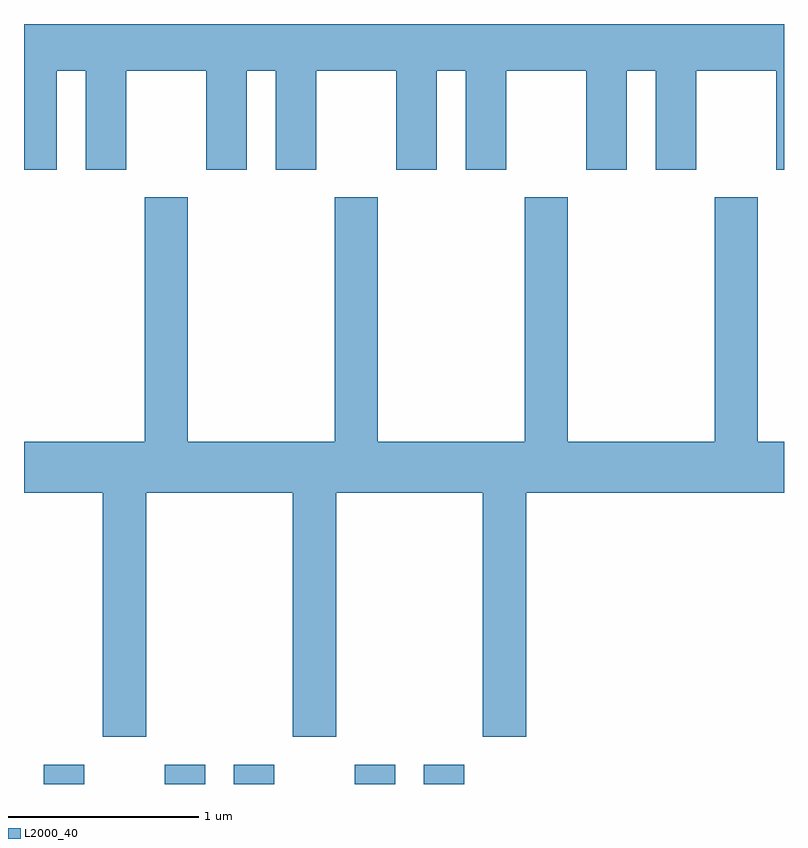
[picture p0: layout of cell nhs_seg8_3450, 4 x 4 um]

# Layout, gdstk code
import gdstk
lib = gdstk.Library(unit=1e-6, precision=1e-09)
def R(c, l, rs):  # rectangles x0, y0, x1, y1
    for r in rs: c.add(gdstk.rectangle(r[:2], r[2:], *l))
def P(c, l, *ps):  # polygons
    for p in ps: c.add(gdstk.Polygon(p, *l))
L2000_40 = (2000, 40)

nhs_seg8_3450 = lib.new_cell('nhs_seg8_3450')
R(nhs_seg8_3450, L2000_40, [(287.716,1930.342,287.929,1930.444), (288.351,1930.342,288.564,1930.444), (288.716,1930.342,288.929,1930.444), (289.351,1930.342,289.564,1930.444), (289.716,1930.342,289.929,1930.444)])
P(nhs_seg8_3450, L2000_40, [(287.784,1934.096),(287.936,1934.096),(287.936,1933.576),(288.149,1933.576),(288.149,1934.096),(288.571,1934.096),(288.571,1933.576),(288.784,1933.576),(288.784,1934.096),(288.936,1934.096),(288.936,1933.576),(289.149,1933.576),(289.149,1934.096),(289.571,1934.096),(289.571,1933.576),(289.784,1933.576),(289.784,1934.096),(289.936,1934.096),(289.936,1933.576),(290.149,1933.576),(290.149,1934.096),(290.571,1934.096),(290.571,1933.576),(290.784,1933.576),(290.784,1934.096),(290.936,1934.096),(290.936,1933.576),(291.149,1933.576),(291.149,1934.096),(291.571,1934.096),(291.571,1933.576),(291.611,1933.576),(291.611,1934.342),(287.611,1934.342),(287.611,1933.576),(287.784,1933.576)],
  [(288.254,1931.876),(289.026,1931.876),(289.026,1930.591),(289.254,1930.591),(289.254,1931.876),(290.026,1931.876),(290.026,1930.591),(290.254,1930.591),(290.254,1931.876),(291.611,1931.876),(291.611,1932.144),(291.474,1932.144),(291.474,1933.429),(291.246,1933.429),(291.246,1932.144),(290.474,1932.144),(290.474,1933.429),(290.246,1933.429),(290.246,1932.144),(289.474,1932.144),(289.474,1933.429),(289.246,1933.429),(289.246,1932.144),(288.474,1932.144),(288.474,1933.429),(288.246,1933.429),(288.246,1932.144),(287.611,1932.144),(287.611,1931.876),(288.026,1931.876),(288.026,1930.591),(288.254,1930.591)])

lib.write_gds('nhs_seg8_3450.gds')
